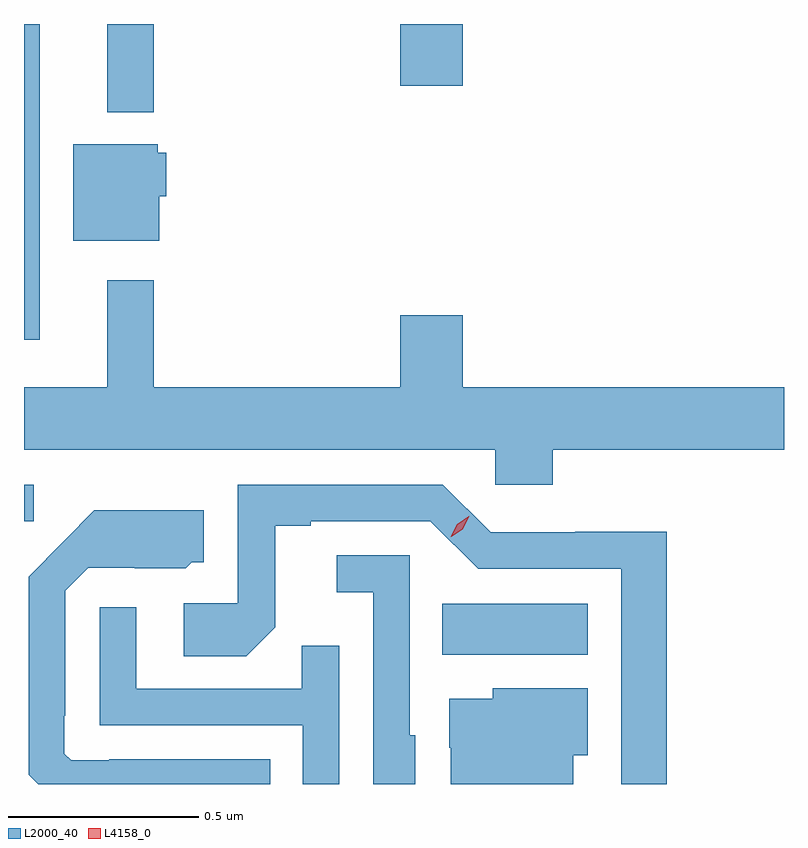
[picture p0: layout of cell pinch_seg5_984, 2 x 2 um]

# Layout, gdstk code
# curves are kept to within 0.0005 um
import gdstk
lib = gdstk.Library(unit=1e-6, precision=1e-09)
def R(c, l, rs):  # rectangles x0, y0, x1, y1
    for r in rs: c.add(gdstk.rectangle(r[:2], r[2:], *l))
def P(c, l, *ps):  # polygons
    for p in ps: c.add(gdstk.Polygon(p, *l))
L2000_40 = (2000, 40)
L4158_0 = (4158, 0)

pinch_seg5_984 = lib.new_cell('pinch_seg5_984')
R(pinch_seg5_984, L2000_40, [(752.53,912.164,752.914,912.298), (751.43,912.516,751.456,912.612), (751.43,912.993,751.471,913.824), (751.649,913.592,751.771,913.824), (752.42,913.662,752.584,913.824)])
P(pinch_seg5_984, L2000_40, [(751.786,913.371),(751.804,913.371),(751.804,913.485),(751.782,913.485),(751.782,913.507),(751.559,913.507),(751.559,913.253),(751.786,913.253)],
  [(752.822,912.704),(753.43,912.704),(753.43,912.868),(752.584,912.868),(752.584,913.057),(752.42,913.057),(752.42,912.868),(751.771,912.868),(751.771,913.15),(751.649,913.15),(751.649,912.868),(751.43,912.868),(751.43,912.704),(752.67,912.704),(752.67,912.611),(752.822,912.611)],
  [(753.121,912.488),(752.88,912.488),(752.88,912.486),(752.658,912.486),(752.532,912.612),(751.992,912.612),(751.992,912.3),(751.851,912.3),(751.851,912.16),(752.015,912.16),(752.091,912.236),(752.091,912.504),(752.185,912.504),(752.185,912.516),(752.499,912.516),(752.625,912.39),(753.002,912.39),(753.002,911.824),(753.121,911.824)],
  [(752.078,911.889),(751.654,911.889),(751.654,911.886),(751.554,911.886),(751.536,911.904),(751.536,912.004),(751.539,912.004),(751.539,912.333),(751.599,912.393),(751.722,912.393),(751.722,912.392),(751.856,912.392),(751.872,912.408),(751.903,912.408),(751.903,912.544),(751.615,912.544),(751.443,912.37),(751.443,911.848),(751.467,911.824),(752.078,911.824)],
  [(752.46,911.952),(752.445,911.952),(752.445,912.426),(752.253,912.426),(752.253,912.329),(752.349,912.329),(752.349,911.824),(752.46,911.824)],
  [(752.259,912.188),(752.161,912.188),(752.161,912.075),(751.725,912.075),(751.725,912.289),(751.629,912.289),(751.629,911.979),(752.163,911.979),(752.163,911.824),(752.259,911.824)],
  [(752.875,911.9),(752.914,911.9),(752.914,912.076),(752.664,912.076),(752.664,912.049),(752.549,912.049),(752.549,911.92),(752.553,911.92),(752.553,911.824),(752.875,911.824)])
P(pinch_seg5_984, L4158_0, [(752.553,912.475),(752.553,912.475),(752.57,912.508),(752.601,912.528),(752.602,912.528),(752.602,912.528),(752.585,912.495),(752.554,912.475)])

lib.write_gds('pinch_seg5_984.gds')
